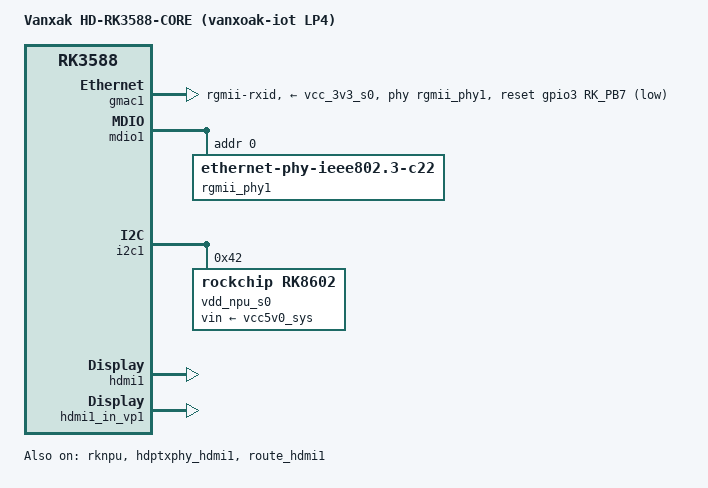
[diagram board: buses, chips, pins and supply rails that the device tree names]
// SPDX-License-Identifier: (GPL-2.0+ OR MIT)
/*
 * Vanxak HD-RK3588-CORE (vanxoak-iot LP4)
 *
 * Based on Rockchip vendor rk3588-evb4-lp4-v10-linux.dts (develop-6.1),
 * with board-specific overrides from the factory live DT / bring-up:
 *   - UART FIQ console @ 115200 (not 1500000)
 *   - RJ45 on GMAC1, PHY MDIO addr 0, reset GPIO3_PB7
 *   - NPU buck on I2C1m2 (fea90000); i2c1m0 conflicts with FIQ/UART2
 *   - HDMI1 (GPIO4_PB2 enable), not EVB4 MIPI-DSI panel
 */

/dts-v1/;

#include "rk3588-evb4-lp4.dtsi"
#include "rk3588-linux.dtsi"

/ {
	model = "Vanxak HD-RK3588-CORE (vanxoak-iot LP4)";
	compatible = "vanxak,hd-rk3588-core", "rockchip,rk3588-evb4-lp4-v10", "rockchip,rk3588";

	chosen {
		bootargs = "earlycon=uart8250,mmio32,0xfeb50000 console=ttyFIQ0 root=PARTLABEL=rootfsA rw rootwait";
	};

	/* EVB4 reserves this for PCIe EP; this board is not an EP. Free it. */
	reserved-memory {
		/delete-node/ dma-trans@3c000000;
	};
};

/* Board UART is 115200 end-to-end (DDR / MiniLoader / Linux). */
&fiq_debugger {
	rockchip,baudrate = <115200>;
};

/* Physical RJ45 is on GMAC1 (confirmed with mainline bring-up + factory DT). */
&gmac0 {
	status = "disabled";
};

&gmac1 {
	phy-mode = "rgmii-rxid";
	clock_in_out = "output";
	snps,reset-gpio = <&gpio3 RK_PB7 GPIO_ACTIVE_LOW>;
	snps,reset-active-low;
	snps,reset-delays-us = <0 20000 100000>;
	pinctrl-names = "default";
	pinctrl-0 = <&gmac1_miim
		     &gmac1_tx_bus2
		     &gmac1_rx_bus2
		     &gmac1_rgmii_clk
		     &gmac1_rgmii_bus>;
	tx_delay = <0x44>;
	rx_delay = <0x00>;
	assigned-clocks = <&cru CLK_GMAC_125M>, <&cru CLK_GMAC_50M>;
	assigned-clock-rates = <125000000>, <50000000>;
	phy-supply = <&vcc_3v3_s0>;
	phy-handle = <&rgmii_phy1>;
	status = "okay";
};

&mdio1 {
	/delete-node/ phy@1;

	/* Factory node name is phy@1 but MDIO address is 0. */
	rgmii_phy1: phy@1 {
		compatible = "ethernet-phy-ieee802.3-c22";
		reg = <0x0>;
	};
};

/*
 * Factory live DT places vdd_npu_s0 on i2c@fea90000 (i2c1) with i2c1m2 pins.
 * Default i2c1m0 uses GPIO0_B5/B6 which FIQ debugger already claimed → NPU deferred.
 */
&i2c2 {
	/delete-node/ rk8602@42;
};

&i2c1 {
	status = "okay";
	pinctrl-names = "default";
	pinctrl-0 = <&i2c1m2_xfer>;

	vdd_npu_s0: vdd_npu_mem_s0: rk8602@42 {
		compatible = "rockchip,rk8602";
		reg = <0x42>;
		vin-supply = <&vcc5v0_sys>;
		regulator-compatible = "rk860x-reg";
		regulator-name = "vdd_npu_s0";
		regulator-min-microvolt = <550000>;
		regulator-max-microvolt = <950000>;
		regulator-ramp-delay = <2300>;
		rockchip,suspend-voltage-selector = <1>;
		regulator-boot-on;
		regulator-always-on;
		regulator-state-mem {
			regulator-off-in-suspend;
		};
	};
};

&rknpu {
	rknpu-supply = <&vdd_npu_s0>;
	mem-supply = <&vdd_npu_s0>;
	status = "okay";
};

&rknpu_mmu {
	status = "okay";
};

/* HDMI1 — factory enable-gpios = GPIO4_PB2; route via VP1. */
&hdmi1 {
	enable-gpios = <&gpio4 RK_PB2 GPIO_ACTIVE_HIGH>;
	status = "okay";
};

&hdmi1_in_vp1 {
	status = "okay";
};

&hdptxphy_hdmi1 {
	status = "okay";
};

&route_hdmi1 {
	status = "okay";
	connect = <&vp1_out_hdmi1>;
};

/* Core board has no MIPI panel / Type-C / touch from EVB4. */
&dsi0 {
	status = "disabled";
};

&dsi0_panel {
	status = "disabled";
};

&route_dsi0 {
	status = "disabled";
};

&dp0 {
	status = "disabled";
};

&gt1x {
	status = "disabled";
};

&hynitron {
	status = "disabled";
};

&i2c6 {
	status = "disabled";
};

&usbc0 {
	status = "disabled";
};

/*
 * EVB4 forces PCIe3x4 into endpoint mode with dma_trans. This board uses
 * normal RC (or leaves it off). Keep disabled until slot power is wired.
 */
&pcie3x4 {
	compatible = "rockchip,rk3588-pcie", "snps,dw-pcie";
	/delete-property/ memory-region;
	/delete-property/ busno;
	status = "disabled";
};
